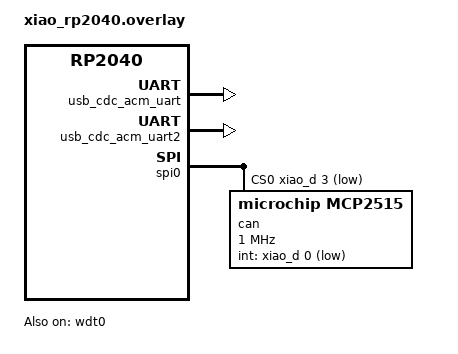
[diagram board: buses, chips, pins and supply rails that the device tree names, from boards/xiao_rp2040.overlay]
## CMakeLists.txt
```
# SPDX-License-Identifier: Apache-2.0

cmake_minimum_required(VERSION 3.20.0)
find_package(Zephyr REQUIRED HINTS $ENV{ZEPHYR_BASE})
project(CANbuddy)

file(GLOB SRC_FILES
    "src/*.cpp" "src/*.c"
)
target_sources(app PRIVATE ${SRC_FILES})
```

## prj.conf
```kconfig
CONFIG_LOG=y
CONFIG_LOG_SPEED=y
CONFIG_LOG_BUFFER_SIZE=8192
CONFIG_LOG_MODE_OVERFLOW=y

CONFIG_CPP=y
CONFIG_GLIBCXX_LIBCPP=y

CONFIG_USB_DEVICE_STACK=y
CONFIG_USB_DEVICE_INITIALIZE_AT_BOOT=y

CONFIG_SERIAL=y
CONFIG_UART_LINE_CTRL=y
CONFIG_UART_INTERRUPT_DRIVEN=y
CONFIG_UART_CONSOLE=y

CONFIG_GPIO=y

CONFIG_PIX_LIB=y

CONFIG_SHELL=y

CONFIG_ZBUS=y
CONFIG_ZBUS_MSG_SUBSCRIBER=y
#CONFIG_NET_BUF=y
CONFIG_HEAP_MEM_POOL_SIZE=4096

CONFIG_REBOOT=y

CONFIG_SPI=y
#CONFIG_SPI_LOG_LEVEL_DBG=y
CONFIG_CAN=y
CONFIG_CAN_LOG_LEVEL_DBG=y

CONFIG_LED_STRIP=y

CONFIG_WATCHDOG=y
```

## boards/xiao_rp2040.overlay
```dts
/ {
  chosen {
    zephyr,console = &usb_cdc_acm_uart;
    zephyr,shell-uart = &usb_cdc_acm_uart;
  };

  aliases {
    mycan = &can;
    strip = &strip;
    watchdog = &wdt0;
  };
};

&usbd {
  usb_cdc_acm_uart: cdc-acm-uart {
    compatible = "zephyr,cdc-acm-uart";
    status = "okay";
  };
  // for mcumanager
  usb_cdc_acm_uart2: cdc-acm-uart2 {
    compatible = "zephyr,cdc-acm-uart";
    status = "okay";
  };
};

&pinctrl {
  ws2812_2_pio0_default: ws2812_2_pio0_default {
    ws2812_2 {
      pinmux = <PIO0_P27>;
    };
  };
};

&adc {
  status = "disabled";
};

&pio0 {
  status = "okay";
  pio-ws2812-2 {
    compatible = "worldsemi,ws2812-rpi_pico-pio";
    status = "okay";
    pinctrl-0 = <&ws2812_2_pio0_default>;
    pinctrl-names = "default";
    bit-waveform = <3>, <3>, <4>;

    strip: strip {
      status = "okay";
      gpios = <&gpio0 27 GPIO_ACTIVE_HIGH>;
      chain-length = <58>;
      color-mapping = <LED_COLOR_ID_GREEN
                       LED_COLOR_ID_RED
                       LED_COLOR_ID_BLUE>;
      frequency = <800000>;
    };
  };
};

&spi0 {
  status = "okay";
  cs-gpios = <&xiao_d 3 GPIO_ACTIVE_LOW>;
  can: can@0 {
    status = "okay";
    compatible = "microchip,mcp2515";
    reg = <0>;
    spi-max-frequency = <1000000>;
    osc-freq = <16000000>;
    int-gpios = <&xiao_d 0 GPIO_ACTIVE_LOW>;
		can-transceiver {
			max-bitrate = <1000000>;
		};
  };
};

&wdt0 {
  status = "okay";
};
```

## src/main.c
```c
/*
 * Copyright (c) 2016 Intel Corporation
 *
 * SPDX-License-Identifier: Apache-2.0
 */

#include <stdio.h>
#include <zephyr/kernel.h>
#include <zephyr/drivers/watchdog.h>
#include <zephyr/logging/log.h>
#include <zephyr/drivers/gpio.h>

#define LOG_LEVEL LOG_LEVEL_DBG
LOG_MODULE_REGISTER(main);

/* 1000 msec = 1 sec */
#define SLEEP_TIME_MS   200

/* The devicetree node identifier for the "led0" alias. */
#define LED0_NODE DT_ALIAS(led0)
#define LED1_NODE DT_ALIAS(led1)
#define LED2_NODE DT_ALIAS(led2)

#define WATCHDOG_NODE DT_ALIAS(watchdog)
const struct device *watchdog = DEVICE_DT_GET(WATCHDOG_NODE);

/*
 * A build error on this line means your board is unsupported.
 * See the sample documentation for information on how to fix this.
 */
static const struct gpio_dt_spec led = GPIO_DT_SPEC_GET(LED0_NODE, gpios);
static const struct gpio_dt_spec led1 = GPIO_DT_SPEC_GET(LED1_NODE, gpios);
static const struct gpio_dt_spec led2 = GPIO_DT_SPEC_GET(LED2_NODE, gpios);

int main(void)
{
	int ret;

	if (!gpio_is_ready_dt(&led)) {
		return 0;
	}

        if (!device_is_ready(watchdog)) {
          LOG_ERR("watchdog not ready");
        }

        const struct wdt_timeout_cfg wdt_conf = {
          .flags = WDT_FLAG_RESET_SOC,
          .window.max = 300
        };

        int wdt_chan = wdt_install_timeout(watchdog, &wdt_conf);
        LOG_INF("install wdt = %d", ret);
        ret = wdt_setup(watchdog, 0);
        LOG_INF("wdt setup = %d", ret);

	ret = gpio_pin_configure_dt(&led, GPIO_OUTPUT_ACTIVE);
	if (ret < 0) {
          LOG_ERR("failed to confiure status LED");
	}
	ret = gpio_pin_configure_dt(&led1, GPIO_OUTPUT_INACTIVE);
	ret = gpio_pin_configure_dt(&led2, GPIO_OUTPUT_INACTIVE);

	while (true) {
          ret = wdt_feed(watchdog, wdt_chan);
		ret = gpio_pin_toggle_dt(&led);
		if (ret < 0) {
                  LOG_ERR("failed to toggle status LED");
		}

		k_msleep(SLEEP_TIME_MS);
	}
	return 0;
}
```

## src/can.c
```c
#include <zephyr/logging/log.h>
#include <zephyr/kernel.h>
#include <zephyr/drivers/can.h>

#include "zbus_can.h"

#define LOG_LEVEL LOG_LEVEL_DBG
LOG_MODULE_REGISTER(can);

#define CAN_NODE DT_ALIAS(mycan)
static const struct device *const can = DEVICE_DT_GET(CAN_NODE);

#define CANID_TYPE(id) ((id >> 24) & 0x1f)
#define CANID_TYPE_ROBOT 1

#define CANID_MFG(id) ((id >> 16) & 0xff)
#define CANID_MFG_NI 1

#define CANID_API(id) ((id >> 10) & 0x3f)
#define CANID_INDEX(id) ((id >> 6) & 0xf)
#define CANID_DEVICE(id) (id & 0x3f)

#define CANID_MAKE(type, mfg, api, idx, no)      \
  ((type & 0x1f) << 24) | ((mfg & 0xff) << 16) | \
      ((api & 0x3f) << 10) | ((idx & 0xf) << 6) | (no & 0x3f)

void rx_led(const struct device *dev, struct can_frame *frame, void *user_data)
{
  int api = CANID_API(frame->id);
  int idx = CANID_INDEX(frame->id);
  int dvc = CANID_DEVICE(frame->id);

  struct zbus_can_msg msg = { 
      .source = CAN_SOURCE_TEAM
  };
  strncpy(msg.data, frame->data, frame->dlc);
  int pub = zbus_chan_pub(&zbus_can, &msg, K_NO_WAIT);
  /*
  LOG_INF("led rx, api=%d, idx=%d, dev=%d, len=%d, flags=%d",
          api, idx, dvc,
          frame->dlc, frame->flags);
          */
}

void rx_rio(const struct device *dev, struct can_frame *frame, void *user_data)
{
  int api = CANID_API(frame->id);
  int idx = CANID_INDEX(frame->id);
  int dvc = CANID_DEVICE(frame->id);

  /*
  LOG_INF("rio rx, api=%d, idx=%d, dev=%d, len=%d, flags=%d",
          api, idx, dvc,
          frame->dlc, frame->flags);
          */
  struct zbus_can_msg msg = {
      .source = CAN_SOURCE_RIO
   };
  strncpy(msg.data, frame->data, frame->dlc);
  int pub = zbus_chan_pub(&zbus_can, &msg, K_NO_WAIT);
}

void can_loop()
{
  while (true)
  {
    if (!device_is_ready(can))
    {
      LOG_INF("can device is not ready");
    }

    break;

    k_msleep(1000);
  }
  LOG_INF("can ready");

  int err = can_set_bitrate(can, 1000000);
  LOG_INF("bitrate %d", err);

  struct can_filter filter_robo = {
      CANID_MAKE(CANID_TYPE_ROBOT, CANID_MFG_NI, 0, 0, 0),
      CANID_MAKE(0x1f, 0xff, 0, 0, 0),
      CAN_FILTER_IDE};

  struct can_filter filter_team = {
      CANID_MAKE(10, 8, 0, 0, 0),
      CANID_MAKE(0x1f, 0xff, 0, 0, 0),
      //    CANID_MAKE(0, 0, 0, 0, 0),
      CAN_FILTER_IDE};

  err = can_start(can);
  LOG_INF("start %d", err);

  err = can_add_rx_filter(can,
                          &rx_rio,
                          "roborio",
                          &filter_robo);
  LOG_INF("filter %d", err);

  err = can_add_rx_filter(can,
                          &rx_led,
                          "team",
                          &filter_team);
  LOG_INF("filter %d", err);

  struct can_bus_err_cnt err_cnt;
  while (true)
  {
    enum can_state state;
    err = can_get_state(can, &state, &err_cnt);
    if (err != 0)
    {
      printf("Failed to get CAN controller state: %d", err);
    }
    k_msleep(1000);
  }
}

K_THREAD_DEFINE(t_can,
                1024,
                &can_loop,
                0, 0, 0,
                5,
                0,
                1000);

ZBUS_CHAN_DEFINE(zbus_can,
                 struct zbus_can_msg,
                 NULL,
                 NULL,
                 ZBUS_OBSERVERS_EMPTY,
                 {});
```

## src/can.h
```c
#pragma once

#ifdef __cplusplus
extern "C" {
#endif

#include <stdint.h>

struct rio_heartbeat {
    uint8_t matchTimeSeconds;
    uint16_t matchNumber:10;
    uint8_t replayNumber:6;
    uint8_t redAlliance:1;
    uint8_t enabled:1;
    uint8_t autonomousMode:1;
    uint8_t testMode:1;
    uint8_t systemWatchdog:1;
};

struct manipulator_state {
    uint8_t elevatorPos;
    uint8_t coralState;
    uint8_t elevatorMode;
    uint8_t selectedSetPoint;
    uint8_t atSetPoint;
    uint8_t chuteState;
};

#ifdef __cplusplus
}
#endif
```

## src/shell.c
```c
#include <zephyr/kernel.h>
#include <zephyr/logging/log.h>
#include <zephyr/shell/shell.h>

#include "zbus_can.h"

void cmd_pub_blue() {
  struct zbus_can_msg msg = {
    .source = CAN_SOURCE_RIO,
    .rio = {
        .redAlliance = 0
    }
  };
  int pub = zbus_chan_pub(&zbus_can, &msg, K_NO_WAIT);
}

void cmd_pub_red() {
    struct zbus_can_msg msg = {
      .source = CAN_SOURCE_RIO,
      .rio = {
          .redAlliance = 1
      }
    };
    int pub = zbus_chan_pub(&zbus_can, &msg, K_NO_WAIT);
  }

  void cmd_pub_manipulator(const struct shell *shell, size_t argc, char *argv[]) {
    if (argc < 3) {
      shell_error(shell, "missing args");
      return;
    }
    int elevator = atoi(argv[1]);
    int coral = atoi(argv[2]);
    struct zbus_can_msg msg = {
      .source = CAN_SOURCE_TEAM,
      .manipulator = {
          .elevatorPos = elevator,
          .coralState = coral
      }
    };
    int pub = zbus_chan_pub(&zbus_can, &msg, K_NO_WAIT);
  }

  SHELL_STATIC_SUBCMD_SET_CREATE(pub_subs,
    SHELL_CMD(b, NULL, "blue alliance.", cmd_pub_blue),
    SHELL_CMD(r, NULL, "red alliance.", cmd_pub_red),
    SHELL_CMD_ARG(m, NULL, "manipulator.", cmd_pub_manipulator, 3, 0),
    SHELL_SUBCMD_SET_END);

SHELL_CMD_REGISTER(pub, &pub_subs, "publish to zbus_can commands", NULL);
```

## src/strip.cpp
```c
#include <zephyr/logging/log.h>
#include <zephyr/kernel.h>
#include <zephyr/zbus/zbus.h>
#include <zephyr/drivers/gpio.h>
#include <zephyr/drivers/led_strip.h>
#include <zephyr/irq.h>

#include "zbus_can.h"

#include <pixlib/generator.h>

#define LOG_LEVEL LOG_LEVEL_DBG
LOG_MODULE_REGISTER(strip);

using namespace px;

#define UPDATE_PERIOD 20

#define STRIP_NODE DT_ALIAS(strip)

#if DT_NODE_HAS_PROP(STRIP_NODE, chain_length)
#define STRIP_LEN DT_PROP(STRIP_NODE, chain_length)
#else
#error strip chain-len not specified
#endif

ZBUS_MSG_SUBSCRIBER_DEFINE(strip_listener);
ZBUS_CHAN_ADD_OBS(zbus_can, strip_listener, 0);

static struct led_rgb backing[STRIP_LEN];
const struct device *strip = DEVICE_DT_GET(STRIP_NODE);

static void update(Generator *g) {
  size_t size = g->getSize();

  for (index_t i = 0; i < size; i++) {
    Pixel p = g->get(i);
    backing[i] = {p.rgb.red, p.rgb.green, p.rgb.blue};
  }
  int irql = irq_lock();
  int ret = led_strip_update_rgb(strip, backing, size);
  irq_unlock(irql);

  if (ret) {
    LOG_ERR("couldn't update strip: %d", ret);
  }
}

K_TIMER_DEFINE(strip_timer, NULL, NULL);

#define LEFT_SIZE 15
#define RIGHT_SIZE 15
#define TOP_SIZE 28

void strip_loop() {
  if (!device_is_ready(strip)) {
    LOG_INF("strip device is not ready");
  }

  // the entire length of the strip
  auto all = new Stitch(STRIP_LEN);

  // left side
  auto left = new Stack(LEFT_SIZE);
  auto bgl = new Chase(LEFT_SIZE, Pixel::Green());
  // masked left
  auto bglm = new mask::Linear(LEFT_SIZE, bgl, LEFT_SIZE, 0);

  auto top = new Stack(TOP_SIZE);

  auto right = new Stack(RIGHT_SIZE);
  auto bgr = new Chase(RIGHT_SIZE, Pixel::Green());
  auto bgrm = new mask::Linear(RIGHT_SIZE, bgr, RIGHT_SIZE, 0);

  left->push(bglm);
  right->push(bgrm);

  auto strobe = new Solid(TOP_SIZE, Pixel(0xff,0x8c,0));
  top->push(strobe->withStrobe(20));

  all->push(left);
  all->push(top);
  all->push(right->withReverse());

  uint8_t last_coral = 255;
  uint8_t last_elevator = 0;

  k_timer_start(&strip_timer, K_NO_WAIT, K_MSEC(UPDATE_PERIOD));
  while (true) {
    static int updates = 0;

//    LOG_INF("strip loop %d", updates++);

    uint32_t n = k_timer_status_sync(&strip_timer);
    if (n > 1) {
      LOG_INF("%d timer expires", n);
    }

    int zbus_stat = 0;

    const struct zbus_channel *chan;
    struct zbus_can_msg msg;

    do {
      zbus_stat = zbus_sub_wait_msg(&strip_listener,
        &chan,
        &msg,
        K_NO_WAIT);
      if (zbus_stat == 0) {
        switch (msg.source) {
        case CAN_SOURCE_RIO:
          //LOG_INF("rio msg, enabled %d, red %d, test %d", msg.rio.enabled, msg.rio.redAlliance, msg.rio.testMode);
          if (msg.rio.redAlliance) {
            bgl->setColor(Pixel::Red());
            bgr->setColor(Pixel::Red());
          } else {
            bgl->setColor(Pixel::Blue());
            bgr->setColor(Pixel::Blue());
          }
          break;
        case CAN_SOURCE_TEAM:
          LOG_INF("team msg %d, %d", msg.manipulator.elevatorPos, msg.manipulator.coralState);
          if (last_coral != msg.manipulator.coralState) {

            last_coral = msg.manipulator.coralState;
          }
          if (last_elevator != msg.manipulator.elevatorPos) {
            last_elevator = msg.manipulator.elevatorPos;
            index_t newEnd = last_elevator * LEFT_SIZE / 100;
            LOG_INF("new end %d", newEnd);
            bglm->setEnd(newEnd);
            bgrm->setEnd(newEnd);
            if (last_elevator <= 1) {
              strobe->enable();
            } else {
              strobe->disable();
            }
          }
          break;
        default:
          LOG_INF("unknown msg");
          break;
        }
      }
    } while (zbus_stat == 0);

    update(all);
    all->next();
  }
}

K_THREAD_DEFINE(
    t_strip,
    1024,
    &strip_loop,
    0, 0, 0,
    5,
    0,
    1000);


    /*
ZBUS_CHAN_DEFINE(
    zbus_strip,
    struct zbus_strip_msg,
    NULL,
    NULL,
    ZBUS_OBSERVERS(strip_listener),
    {});
*/
```

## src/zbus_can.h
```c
#pragma once

#ifdef __cplusplus
extern "C" {
#endif

#include <zephyr/zbus/zbus.h>
#include <zephyr/drivers/can.h>

#include "can.h"

ZBUS_CHAN_DECLARE(zbus_can);

#define CAN_SOURCE_RIO 1
#define CAN_SOURCE_TEAM 2

struct zbus_can_msg {
    uint8_t source;

    union {
        uint8_t data[CAN_MAX_DLEN];
        struct rio_heartbeat rio;
        struct manipulator_state manipulator;
    };
};

#ifdef __cplusplus
}
#endif
```
